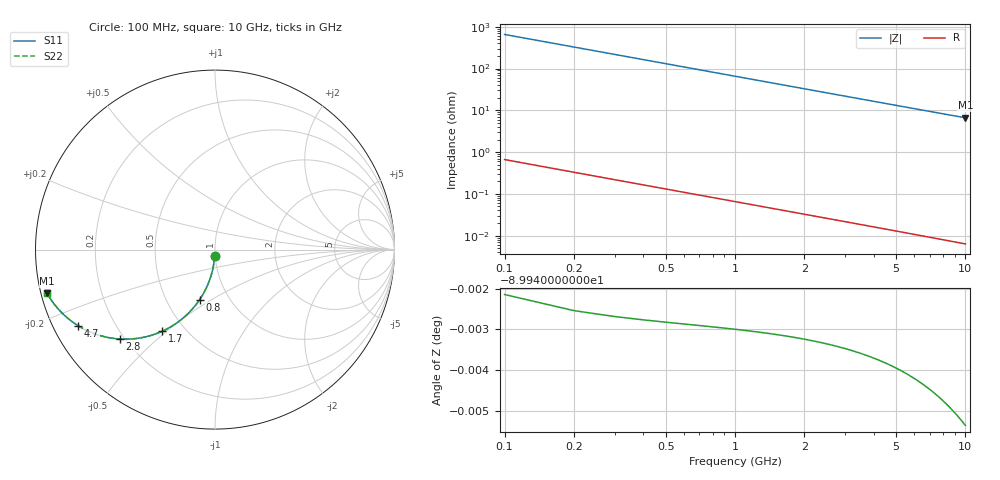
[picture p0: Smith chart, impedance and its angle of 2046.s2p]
# Hz S RI R 50.00
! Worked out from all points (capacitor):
!   100 points, 100 MHz to 10 GHz, reference 50 ohm
!   read as one part in shunt: C = 2.43 pF near 100 MHz
!   lowest |Z| = 6.63 ohm at 10 GHz (marker M1)
!   S11 on the Smith chart (normalised r, x): 100 MHz: 0.99, -0.08; 800 MHz: 0.73, -0.44; 1.7 GHz: 0.37, -0.48; 2.8 GHz: 0.18, -0.38; 4.7 GHz: 0.07, -0.26; 10 GHz: 0.02, -0.13
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1e8  -0.00148 -0.038  0.9985 -0.0381  0.9985 -0.0381  -0.00148 -0.038
2e8  -0.00584 -0.0757  0.9941 -0.0758  0.9941 -0.0758  -0.00584 -0.0757
3e8  -0.013 -0.1127  0.987 -0.1129  0.987 -0.1129  -0.013 -0.1127
4e8  -0.0228 -0.1488  0.9771 -0.149  0.9771 -0.149  -0.0228 -0.1488
5e8  -0.0352 -0.1837  0.9648 -0.1838  0.9648 -0.1838  -0.0352 -0.1837
6e8  -0.0498 -0.217  0.9501 -0.2173  0.9501 -0.2173  -0.0498 -0.217
8e8  -0.0852 -0.2786  0.9148 -0.2789  0.9148 -0.2789  -0.0852 -0.2786
1e9  -0.127 -0.3323  0.873 -0.3326  0.873 -0.3326  -0.127 -0.3323
1.2e9  -0.1731 -0.3776  0.8269 -0.378  0.8269 -0.378  -0.1731 -0.3776
1.4e9  -0.2216 -0.4146  0.7784 -0.4151  0.7784 -0.4151  -0.2216 -0.4146
1.7e9  -0.2955 -0.4555  0.7044 -0.4561  0.7044 -0.4561  -0.2955 -0.4555
1.8e9  -0.3198 -0.4656  0.6801 -0.4663  0.6801 -0.4663  -0.3198 -0.4656
2.3e9  -0.4341 -0.4947  0.5659 -0.4956  0.5659 -0.4956  -0.4341 -0.4947
2.8e9  -0.5318 -0.498  0.4682 -0.499  0.4682 -0.499  -0.5318 -0.498
3.4e9  -0.6259 -0.4827  0.374 -0.484  0.374 -0.484  -0.6259 -0.4827
4e9  -0.6982 -0.4578  0.3017 -0.4593  0.3017 -0.4593  -0.6982 -0.4578
4.7e9  -0.7614 -0.4248  0.2386 -0.4266  0.2386 -0.4266  -0.7614 -0.4248
5.1e9  -0.7897 -0.406  0.2102 -0.4079  0.2102 -0.4079  -0.7897 -0.406
5.8e9  -0.8291 -0.3748  0.1708 -0.377  0.1708 -0.377  -0.8291 -0.3748
6.7e9  -0.8661 -0.3388  0.1339 -0.3413  0.1339 -0.3413  -0.8661 -0.3388
8.4e9  -0.9103 -0.2836  0.0897 -0.2868  0.0897 -0.2868  -0.9103 -0.2836
1e10  -0.9349 -0.2443  0.0651 -0.248  0.0651 -0.248  -0.9349 -0.2443
